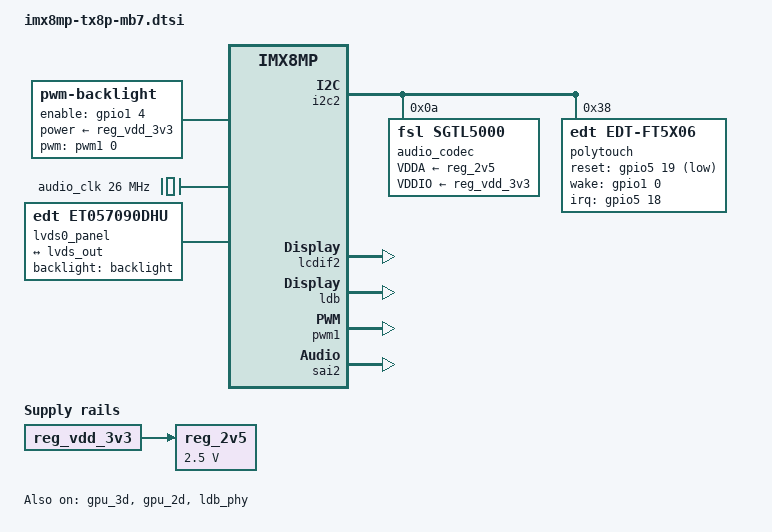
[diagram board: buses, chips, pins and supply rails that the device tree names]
// SPDX-License-Identifier: (GPL-2.0 OR MIT)
/*
 * Copyright (C) 2021 Markus Bauer <MBKARO-electronics.de>
 */

/ {
	backlight: backlight {
		compatible = "pwm-backlight";
		pinctrl-names = "default";
		pinctrl-0 = <&pinctrl_lcd_en>;
		pwms = <&pwm1 0 500000>;
		turn-on-delay-ms = <35>;
		enable-gpios = <&gpio1 4 GPIO_ACTIVE_HIGH>;
		power-supply = <&reg_vdd_3v3>;
		brightness-levels = < 0	 1  2  3  4  5	6  7  8	 9
				     10 11 12 13 14 15 16 17 18 19
				     20 21 22 23 24 25 26 27 28 29
				     30 31 32 33 34 35 36 37 38 39
				     40 41 42 43 44 45 46 47 48 49
				     50 51 52 53 54 55 56 57 58 59
				     60 61 62 63 64 65 66 67 68 69
				     70 71 72 73 74 75 76 77 78 79
				     80 81 82 83 84 85 86 87 88 89
				     90 91 92 93 94 95 96 97 98 99
				    100>;
		default-brightness-level = <50>;
	};

	audio_clk: audio-clock {
		compatible = "fixed-clock";
		#clock-cells = <0>;
		clock-frequency = <26000000>;
	};

	lvds0_panel {
		compatible = "edt,et057090dhu";
		backlight = <&backlight>;

		port {
			panel_lvds_in: endpoint {
				remote-endpoint = <&lvds_out>;
			};
		};
	};

	reg_2v5: regulator-2v5 {
		compatible = "regulator-fixed";
		regulator-name = "2v5";
		regulator-min-microvolt = <2500000>;
		regulator-max-microvolt = <2500000>;
		regulator-always-on;
		vin-supply = <&reg_vdd_3v3>;
	};

	sound {
		compatible = "karo,imx8mm-tx8m-sgtl5000",
			     "simple-audio-card";
		simple-audio-card,name = "imx8mm-tx8m-sgtl5000-audio";
		simple-audio-card,format = "i2s";
		simple-audio-card,bitclock-master = <&codec_dai>;
		simple-audio-card,frame-master = <&codec_dai>;
		simple-audio-card,widgets =
			"Microphone", "Mic Jack",
			"Line", "Line In",
			"Line", "Line Out",
			"Headphone", "Headphone Jack";
		simple-audio-card,routing =
			"MIC_IN", "Mic Jack",
			"Mic Jack", "Mic Bias",
			"Headphone Jack", "HP_OUT";

		cpu_dai: simple-audio-card,cpu {
			sound-dai = <&sai2>;
		};

		codec_dai: simple-audio-card,codec {
			sound-dai = <&audio_codec>;
		};
	};
};

&gpu_3d {
	status = "okay";
};

&gpu_2d {
	status = "okay";
};

&i2c2 {
	audio_codec: sgtl5000@a {
		compatible = "fsl,sgtl5000";
		reg = <0xa>;
		VDDA-supply = <&reg_2v5>;
		VDDIO-supply = <&reg_vdd_3v3>;
		#sound-dai-cells = <0>;
		clocks = <&audio_clk>;
	};

	polytouch: edt-ft5x06@38 {
		compatible = "edt,edt-ft5x06";
		reg = <0x38>;
		pinctrl-names = "default";
		pinctrl-0 = <&pinctrl_edt_ft5x06>;
		interrupt-parent = <&gpio5>;
		interrupts = <18 IRQ_TYPE_EDGE_FALLING>;
		reset-gpios = <&gpio5 19 GPIO_ACTIVE_LOW>;
		wake-gpios = <&gpio1 0 GPIO_ACTIVE_HIGH>;
		wakeup-source;
	};
};

&i2c3 {
	status = "disabled";
};

&lcdif2 {
	status = "okay";
};

&ldb {
	status = "okay";

	lvds-channel@0 {
		fsl,data-mapping = "jeida";
		fsl,data-width = <24>;
		status = "okay";

		port@1 {
			reg = <1>;

			lvds_out: endpoint {
				remote-endpoint = <&panel_lvds_in>;
			};
		};
	};
};

&ldb_phy {
	status = "okay";
};

&pwm1 {
	pinctrl-names = "default";
	pinctrl-0 = <&pinctrl_pwm1>;
	status = "okay";
};

&sai2 {
	pinctrl-names = "default";
	pinctrl-0 = <&pinctrl_sai2>;
	#sound-dai-cells = <0>;
	status = "okay";
};

&usdhc2 {
	/delete-property/ cd-gpios;
	no-mmc;
};

&iomuxc {
	pinctrl_pwm1: pwm1grp {
		fsl,pins = <
			MX8MP_IOMUXC_GPIO1_IO01__PWM1_OUT		0x06
		>;
	};

	pinctrl_sai2: sai2grp {
		fsl,pins = <
			MX8MP_IOMUXC_SAI2_RXD0__AUDIOMIX_SAI2_RX_DATA00	0xd6
			MX8MP_IOMUXC_SAI2_TXD0__AUDIOMIX_SAI2_TX_DATA00	0xd6
			MX8MP_IOMUXC_SAI2_TXC__AUDIOMIX_SAI2_TX_BCLK	0xd6
			MX8MP_IOMUXC_SAI2_TXFS__AUDIOMIX_SAI2_TX_SYNC	0xd6
		>;
	};

	pinctrl_edt_ft5x06: edt-ft5x06grp {
		fsl,pins = <
			MX8MP_IOMUXC_I2C3_SCL__GPIO5_IO18		0x1b0b0 /* Interrupt */
			MX8MP_IOMUXC_I2C3_SDA__GPIO5_IO19		0x1b0b0 /* Reset */
			MX8MP_IOMUXC_GPIO1_IO00__GPIO1_IO00		0x1b0b0 /* Wake */
		>;
	};

	pinctrl_lcd_en: lcd-engrp {
		fsl,pins = <
			MX8MP_IOMUXC_GPIO1_IO04__GPIO1_IO04		0x146
		>;
	};

	pinctrl_lvds: lvdsgrp {
		fsl,pins = <
			MX8MP_IOMUXC_I2C4_SCL__GPIO5_IO20		0x146
		>;
	};
};
